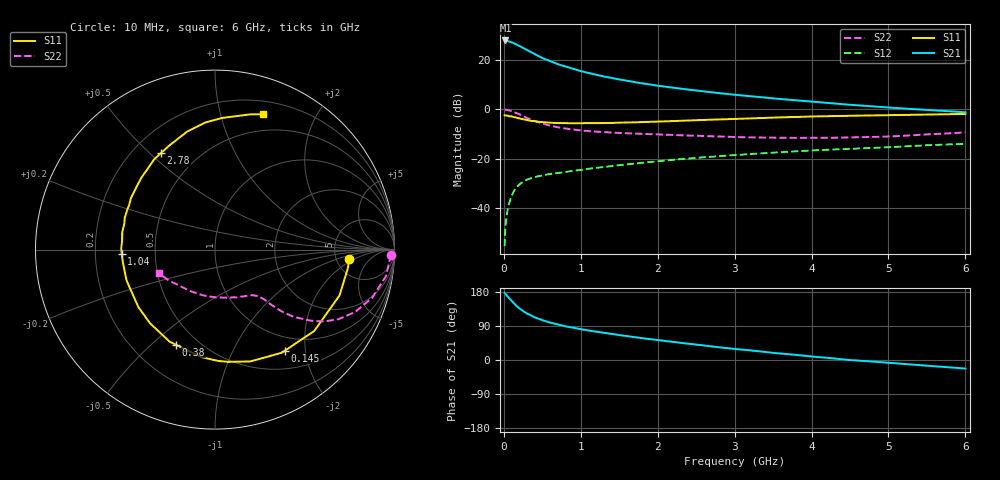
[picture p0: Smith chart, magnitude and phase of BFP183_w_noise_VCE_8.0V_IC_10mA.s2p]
! Infineon Technologies  Discrete & RF Semiconductors
! BFP183
! VCE = 8.0 V,  IC =  10 mA
! Common Emitter S-Parameters:  Jan 2016
# GHz  S  MA  R  50
!  f  S11  S21  S12  S22
! GHz  MAG  ANG  MAG  ANG  MAG  ANG  MAG  ANG
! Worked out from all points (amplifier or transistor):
!   210 points, 10 MHz to 6 GHz, reference 50 ohm
!   highest |S21| = 27.8 dB at 20 MHz (marker M1)
!   |S21| within 3 dB of that: start of sweep to 246.1 MHz
!   unconditionally stable (mu >= 1): 1.264 GHz to 5.729 GHz
!   at 185 MHz: K = 0.24, MSG = 28.4 dB, |S12| = -30.9 dB
!   at 1.52 GHz: K = 1.06, MAG = 15.7 dB, |S12| = -22.6 dB
!   at 6 GHz: K = 0.97, MSG = 6.4 dB, |S12| = -14.0 dB
!   lowest NFmin = 1.30 dB at 450 MHz
!   S11 on the Smith chart (normalised r, x): 10 MHz: 6.63, -1.54; 145 MHz: 0.77, -1.64; 380 MHz: 0.38, -0.60; 1.04 GHz: 0.32, -0.02; 2.78 GHz: 0.31, +0.54; 6 GHz: 0.33, +1.36
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0.01  0.7498 -3.9  24.31 177.1  0.0017 79.4  0.9832 -1.7
0.02  0.7471 -8.1  24.42 175.0  0.0041 86.8  0.9751 -3.6
0.05  0.7393 -20.2  23.87 167.3  0.0094 81.4  0.9634 -8.9
0.1  0.715 -39.3  22.45 155.9  0.0176 70.3  0.9155 -17.1
0.145  0.6849 -55.2  20.94 146.3  0.0242 63.9  0.8591 -23.4
0.2  0.6533 -72.5  19.02 136.4  0.0299 57.9  0.7885 -29.5
0.24  0.6299 -83.2  17.5 130.4  0.0332 54.3  0.736 -32.8
0.3  0.6031 -97.7  15.61 122.7  0.0376 50.1  0.6637 -36.6
0.38  0.5731 -112.4  13.37 114.9  0.0413 46.6  0.5922 -39.7
0.4  0.5718 -116.2  12.86 112.5  0.0423 45.8  0.5747 -40.6
0.5  0.5475 -131.3  10.78 104.8  0.0457 42.8  0.511 -42.7
0.6  0.5339 -143.0  9.354 98.6  0.049 41.5  0.4633 -43.9
0.8  0.5218 -161.2  7.249 88.9  0.0537 41.0  0.4051 -45.0
1.02  0.5194 -176.0  5.763 80.7  0.0597 41.2  0.3694 -46.3
1.04  0.5199 -177.2  5.665 80.0  0.0603 41.3  0.3669 -46.4
1.5  0.5334 160.4  3.985 65.7  0.0737 42.2  0.3294 -50.4
2.02  0.5608 141.0  2.945 52.1  0.0888 41.3  0.3075 -57.7
2.78  0.6169 119.1  2.118 34.0  0.1116 37.9  0.2812 -72.8
3.1  0.6403 111.4  1.888 27.4  0.1207 36.2  0.2707 -80.4
4.1  0.7141 92.8  1.377 7.6  0.1484 29.5  0.2631 -108.0
5.1  0.7586 79.5  1.052 -8.8  0.1729 23.4  0.2841 -135.7
6  0.7996 70.6  0.864 -22.6  0.1986 16.0  0.3389 -157.1
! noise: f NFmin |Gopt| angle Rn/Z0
0.45  1.3  0.15  45  0.18
0.9  1.4  0.2  125  0.19
1.8  2.1  0.34  -170  0.14
